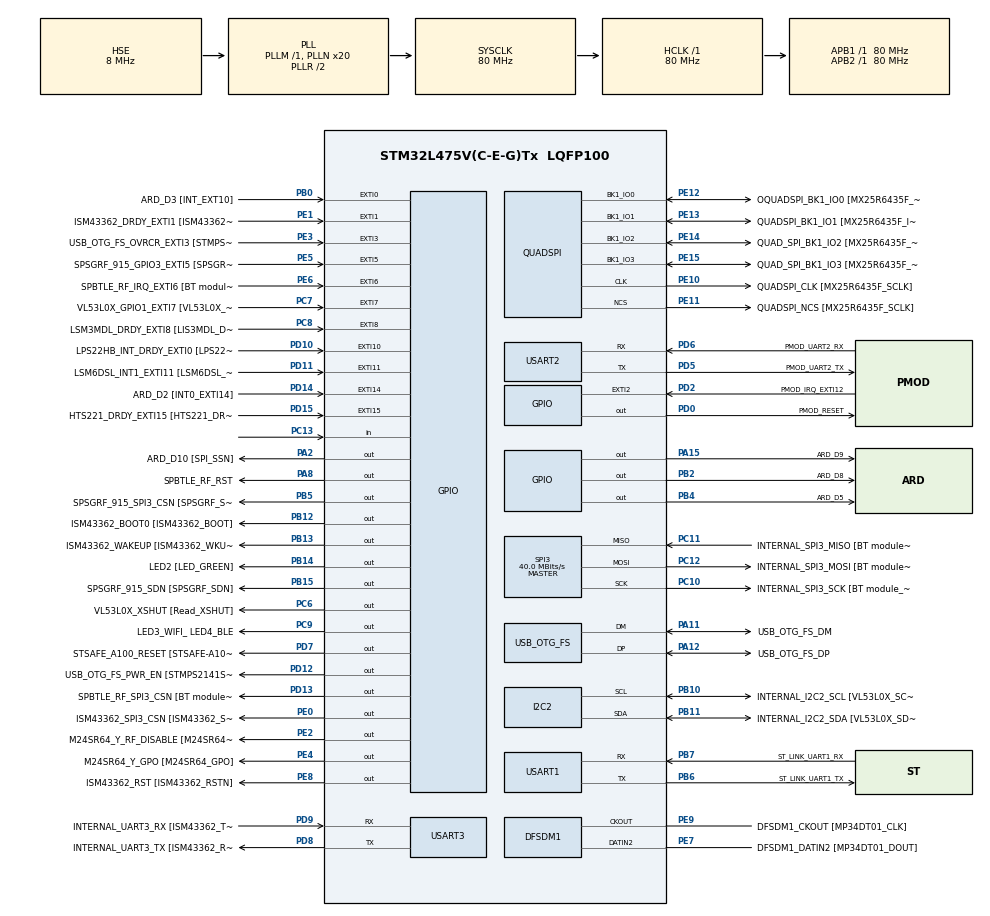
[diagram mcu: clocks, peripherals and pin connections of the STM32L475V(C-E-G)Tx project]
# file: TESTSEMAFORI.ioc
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FREERTOS.BinarySemaphores01=Semaphore,Dynamic,NULL
FREERTOS.Tasks01=HighTask,2,128,StartHighTask,Default,NULL,Dynamic,NULL,NULL;LowTask,-1,128,StartLowTask,Default,NULL,Dynamic,NULL,NULL;NormalTask,0,128,StartNormalTask,Default,NULL,Dynamic,NULL,NULL
Mcu.Family=STM32L4
Mcu.Name=STM32L475V(C-E-G)Tx
Mcu.Package=LQFP100
NVIC.PriorityGroup=NVIC_PRIORITYGROUP_4
NVIC.TIM1_UP_TIM16_IRQn=true\:0\:0\:false\:false\:true\:false\:false\:true
NVIC.TimeBase=TIM1_UP_TIM16_IRQn
NVIC.TimeBaseIP=TIM1
PA0.GPIO_Label=ARD_D1 [UART4_TX]
PA0.Signal=UART4_TX
PA1.GPIO_Label=ARD_D0 [UART4_RX]
PA1.Signal=UART4_RX
PA10.GPIO_Label=USB_OTG_FS_ID
PA10.Signal=USB_OTG_FS_ID
PA11.GPIO_Label=USB_OTG_FS_DM
PA11.Mode=Device_Only
PA11.Signal=USB_OTG_FS_DM
PA12.GPIO_Label=USB_OTG_FS_DP
PA12.Mode=Device_Only
PA12.Signal=USB_OTG_FS_DP
PA13\ (JTMS-SWDIO).GPIO_Label=SYS_JTMS_SWDIO
PA13\ (JTMS-SWDIO).Mode=Serial_Wire
PA13\ (JTMS-SWDIO).Signal=SYS_JTMS-SWDIO
PA14\ (JTCK-SWCLK).GPIO_Label=SYS_JTCK_SWCLK
PA14\ (JTCK-SWCLK).Mode=Serial_Wire
PA14\ (JTCK-SWCLK).Signal=SYS_JTCK-SWCLK
PA15\ (JTDI).GPIO_Label=ARD_D9
PA15\ (JTDI).Signal=GPIO_Output
PA2.GPIO_Label=ARD_D10 [SPI_SSN]
PA2.Signal=GPIO_Output
PA3.GPIO_Label=ARD_D4
PA3.Signal=S_TIM2_CH4
PA4.GPIO_Label=ARD_D7
PA4.Signal=ADCx_IN9
PA5.GPIO_Label=ARD_D13 [SPI1_SCK]
PA5.Signal=SPI1_SCK
PA6.GPIO_Label=ARD_D12 [SPI1_MISO]
PA6.Signal=SPI1_MISO
PA7.GPIO_Label=ARD_D11 [SPI1_MOSI]
PA7.Signal=SPI1_MOSI
PA8.GPIO_Label=SPBTLE_RF_RST
PA8.Signal=GPIO_Output
PA9.GPIO_Label=USB_OTG_FS_VBUS [STMPS2141STR_OUT]
PA9.Signal=USB_OTG_FS_VBUS
PB0.GPIO_Label=ARD_D3 [INT_EXT10]
PB0.Signal=GPXTI0
PB1.GPIO_Label=ARD_D6 [ADC1_IN6]
PB1.Signal=ADCx_IN16
PB10.GPIO_Label=INTERNAL_I2C2_SCL [VL53L0X_SCL]
PB10.Mode=I2C
PB10.Signal=I2C2_SCL
PB11.GPIO_Label=INTERNAL_I2C2_SDA [VL53L0X_SDA]
PB11.Mode=I2C
PB11.Signal=I2C2_SDA
PB12.GPIO_Label=ISM43362_BOOT0 [ISM43362_BOOT]
PB12.Signal=GPIO_Output
PB13.GPIO_Label=ISM43362_WAKEUP [ISM43362_WKUP]
PB13.Signal=GPIO_Output
PB14.GPIO_Label=LED2 [LED_GREEN]
PB14.Signal=GPIO_Output
PB15.GPIO_Label=SPSGRF_915_SDN [SPSGRF_SDN]
PB15.Signal=GPIO_Output
PB2.GPIO_Label=ARD_D8
PB2.Signal=GPIO_Output
PB3\ (JTDO-TRACESWO).GPIO_Label=SYS_JTD0_SWO
PB3\ (JTDO-TRACESWO).Signal=SYS_JTDO-SWO
PB4\ (NJTRST).GPIO_Label=ARD_D5
PB4\ (NJTRST).Signal=GPIO_Output
PB5.GPIO_Label=SPSGRF_915_SPI3_CSN [SPSGRF_SPI_CS]
PB5.PinState=GPIO_PIN_SET
PB5.Signal=GPIO_Output
PB6.GPIO_Label=ST_LINK_UART1_TX
PB6.Mode=Asynchronous
PB6.Signal=USART1_TX
PB7.GPIO_Label=ST_LINK_UART1_RX
PB7.Mode=Asynchronous
PB7.Signal=USART1_RX
PB8.GPIO_Label=ARD_D15 [I2C1_SCL]
PB8.Signal=I2C1_SCL
PB9.GPIO_Label=ARD_D14 [I2C1_SDA]
PB9.Signal=I2C1_SDA
PC0.GPIO_Label=ARD_A5 [ADC]
PC0.Signal=ADCx_IN1
PC1.GPIO_Label=ARD_A4 [ADC]
PC1.Signal=ADCx_IN2
PC10.GPIO_Label=INTERNAL_SPI3_SCK [BT module_SPI_SCLK] [ISM43362_SCK]
PC10.Mode=Full_Duplex_Master
PC10.Signal=SPI3_SCK
PC11.GPIO_Label=INTERNAL_SPI3_MISO [BT module_SPI_MISO] [ISM43362_MISO]
PC11.Mode=Full_Duplex_Master
PC11.Signal=SPI3_MISO
PC12.GPIO_Label=INTERNAL_SPI3_MOSI [BT module_SPI_MOSI] [ISM43362_MOSI]
PC12.Mode=Full_Duplex_Master
PC12.Signal=SPI3_MOSI
PC13.Signal=GPIO_Input
PC14-OSC32_IN\ (PC14).Mode=LSE-External-Oscillator
PC14-OSC32_IN\ (PC14).Signal=RCC_OSC32_IN
PC15-OSC32_OUT\ (PC15).Mode=LSE-External-Oscillator
PC15-OSC32_OUT\ (PC15).Signal=RCC_OSC32_OUT
PC2.GPIO_Label=ARD_A3 [ADC]
PC2.Signal=ADCx_IN3
PC3.GPIO_Label=ARD_A2 [ADC]
PC3.Signal=ADCx_IN4
PC4.GPIO_Label=ARD_A1 [ADC]
PC4.Signal=ADCx_IN13
PC5.GPIO_Label=ARD_A0 [ADC]
PC5.Signal=ADCx_IN14
PC6.GPIO_Label=VL53L0X_XSHUT [Read_XSHUT]
PC6.Signal=GPIO_Output
PC7.GPIO_Label=VL53L0X_GPIO1_EXTI7 [VL53L0X_GPIO1]
PC7.Signal=GPXTI7
PC8.GPIO_Label=LSM3MDL_DRDY_EXTI8 [LIS3MDL_DRDY]
PC8.Signal=GPXTI8
PC9.GPIO_Label=LED3_WIFI_ LED4_BLE
PC9.Signal=GPIO_Output
PD0.GPIO_Label=PMOD_RESET
PD0.Signal=GPIO_Output
PD1.GPIO_Label=PMOD_SPI2_SCK
PD1.Signal=SPI2_SCK
PD10.GPIO_Label=LPS22HB_INT_DRDY_EXTI0 [LPS22HB_INT_DRDY] 
PD10.Signal=GPXTI10
PD11.GPIO_Label=LSM6DSL_INT1_EXTI11 [LSM6DSL_INT1]
PD11.Signal=GPXTI11
PD12.GPIO_Label=USB_OTG_FS_PWR_EN [STMPS2141STR_EN]
PD12.Signal=GPIO_Output
PD13.GPIO_Label=SPBTLE_RF_SPI3_CSN [BT module_SPI_CS]
PD13.PinState=GPIO_PIN_SET
PD13.Signal=GPIO_Output
PD14.GPIO_Label=ARD_D2 [INT0_EXTI14]
PD14.Signal=GPXTI14
PD15.GPIO_Label=HTS221_DRDY_EXTI15 [HTS221_DRDY]
PD15.Signal=GPXTI15
PD2.GPIO_Label=PMOD_IRQ_EXTI12
PD2.Signal=GPXTI2
PD3.GPIO_Label=PMOD_UART2_CTS
PD3.Signal=USART2_CTS
PD4.GPIO_Label=PMOD_UART2_RTS
PD4.Signal=USART2_RTS
PD5.GPIO_Label=PMOD_UART2_TX
PD5.Mode=Asynchronous
PD5.Signal=USART2_TX
PD6.GPIO_Label=PMOD_UART2_RX
PD6.Mode=Asynchronous
PD6.Signal=USART2_RX
PD7.GPIO_Label=STSAFE_A100_RESET [STSAFE-A100_RESET]
PD7.Signal=GPIO_Output
PD8.GPIO_Label=INTERNAL_UART3_TX [ISM43362_RX]
PD8.Mode=Asynchronous
PD8.Signal=USART3_TX
PD9.GPIO_Label=INTERNAL_UART3_RX [ISM43362_TX]
PD9.Mode=Asynchronous
PD9.Signal=USART3_RX
PE0.GPIO_Label=ISM43362_SPI3_CSN [ISM43362_SSN]
PE0.PinState=GPIO_PIN_SET
PE0.Signal=GPIO_Output
PE1.GPIO_Label=ISM43362_DRDY_EXTI1 [ISM43362_DATARDY]
PE1.Signal=GPXTI1
PE10.GPIO_Label=QUADSPI_CLK [MX25R6435F_SCLK]
PE10.Mode=Single Bank
PE10.Signal=QUADSPI_CLK
PE11.GPIO_Label=QUADSPI_NCS [MX25R6435F_SCLK]
PE11.Mode=Single Bank
PE11.Signal=QUADSPI_NCS
PE12.GPIO_Label=OQUADSPI_BK1_IO0 [MX25R6435F_IO0]
PE12.Mode=Single Bank
PE12.Signal=QUADSPI_BK1_IO0
PE13.GPIO_Label=QUADSPI_BK1_IO1 [MX25R6435F_IO1]
PE13.Mode=Single Bank
PE13.Signal=QUADSPI_BK1_IO1
PE14.GPIO_Label=QUAD_SPI_BK1_IO2 [MX25R6435F_IO2]
PE14.Mode=Single Bank
PE14.Signal=QUADSPI_BK1_IO2
PE15.GPIO_Label=QUAD_SPI_BK1_IO3 [MX25R6435F_IO3]
PE15.Mode=Single Bank
PE15.Signal=QUADSPI_BK1_IO3
PE2.GPIO_Label=M24SR64_Y_RF_DISABLE [M24SR64_RFDIS]
PE2.Signal=GPIO_Output
PE3.GPIO_Label=USB_OTG_FS_OVRCR_EXTI3 [STMPS2141STR_FAULT]
PE3.Signal=GPXTI3
PE4.GPIO_Label=M24SR64_Y_GPO [M24SR64_GPO]
PE4.Signal=GPIO_Output
PE5.GPIO_Label=SPSGRF_915_GPIO3_EXTI5 [SPSGRF_GPIO_3]
PE5.Signal=GPXTI5
PE6.GPIO_Label=SPBTLE_RF_IRQ_EXTI6 [BT module_SPI_IRQ]
PE6.Signal=GPXTI6
PE7.GPIO_Label=DFSDM1_DATIN2 [MP34DT01_DOUT]
PE7.Signal=S_DATAIN2DFSDM1
PE8.GPIO_Label=ISM43362_RST [ISM43362_RSTN]
PE8.Signal=GPIO_Output
PE9.GPIO_Label=DFSDM1_CKOUT [MP34DT01_CLK]
PE9.Signal=S_CKOUTDFSDM1
PH0-OSC_IN\ (PH0).Mode=HSE-External-Oscillator
PH0-OSC_IN\ (PH0).Signal=RCC_OSC_IN
PH1-OSC_OUT\ (PH1).Mode=HSE-External-Oscillator
PH1-OSC_OUT\ (PH1).Signal=RCC_OSC_OUT
ProjectManager.HeapSize=0x200
ProjectManager.StackSize=0x400
ProjectManager.TargetToolchain=STM32CubeIDE
RCC.ADCFreq_Value=48000000
RCC.AHBFreq_Value=80000000
RCC.APB1Freq_Value=80000000
RCC.APB1TimFreq_Value=80000000
RCC.APB2Freq_Value=80000000
RCC.APB2TimFreq_Value=80000000
RCC.CortexFreq_Value=80000000
RCC.HCLKFreq_Value=80000000
RCC.HSE_VALUE=8000000
RCC.HSI_VALUE=16000000
RCC.MSI_VALUE=4000000
RCC.PLLN=20
RCC.PLLSAI1N=12
RCC.PLLSourceVirtual=RCC_PLLSOURCE_HSE
RCC.SYSCLKFreq_VALUE=80000000
RCC.SYSCLKSource=RCC_SYSCLKSOURCE_PLLCLK
RCC.USBFreq_Value=48000000
RCC.VCOOutputFreq_Value=160000000
SH.ADCx_IN1.0=ADC1_IN1
SH.ADCx_IN13.0=ADC1_IN13
SH.ADCx_IN14.0=ADC1_IN14
SH.ADCx_IN16.0=ADC1_IN16
SH.ADCx_IN2.0=ADC1_IN2
SH.ADCx_IN3.0=ADC1_IN3
SH.ADCx_IN4.0=ADC1_IN4
SH.ADCx_IN9.0=ADC1_IN9
SH.S_CKOUTDFSDM1.0=DFSDM1_CKOUT,CKOUT
SH.S_CKOUTDFSDM1.1=DFSDM1_CKOUT,PDM_SPI_Input_from_ch12_and_Internal_Clock
SH.S_DATAIN2DFSDM1.0=DFSDM1_DATIN2,PDM_SPI_Input_from_ch12_and_Internal_Clock
SH.S_TIM2_CH4.0=TIM2_CH4
SPI3.BaudRatePrescaler=SPI_BAUDRATEPRESCALER_2
SPI3.CalculateBaudRate=40.0 MBits/s
SPI3.Direction=SPI_DIRECTION_2LINES
SPI3.Mode=SPI_MODE_MASTER
SPI3.VirtualType=VM_MASTER
USART1.VirtualMode-Asynchronous=VM_ASYNC
USART2.VirtualMode-Asynchronous=VM_ASYNC
USART3.VirtualMode-Asynchronous=VM_ASYNC
USB_OTG_FS.VirtualMode=Device_Only
VP_FREERTOS_VS_CMSIS_V1.Mode=CMSIS_V1
VP_SYS_VS_tim1.Mode=TIM1
board=B-L475E-IOT01A1

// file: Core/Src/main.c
/* USER CODE BEGIN Header */
/**
  ******************************************************************************
  * @file           : main.c
  * @brief          : Main program body
  ******************************************************************************
  * @attention
  *
  * <h2><center>&copy; Copyright (c) 2020 STMicroelectronics.
  * All rights reserved.</center></h2>
  *
  * This software component is licensed by ST under BSD 3-Clause license,
  * the "License"; You may not use this file except in compliance with the
  * License. You may obtain a copy of the License at:
  *                        opensource.org/licenses/BSD-3-Clause
  *
  ******************************************************************************
  */
/* USER CODE END Header */

#include "main.h"
#include "cmsis_os.h"

DFSDM_Channel_HandleTypeDef hdfsdm1_channel1;

I2C_HandleTypeDef hi2c2;

QSPI_HandleTypeDef hqspi;

SPI_HandleTypeDef hspi3;

UART_HandleTypeDef huart1;
UART_HandleTypeDef huart2;
UART_HandleTypeDef huart3;

PCD_HandleTypeDef hpcd_USB_OTG_FS;

osThreadId HighTaskHandle;
osThreadId LowTaskHandle;
osThreadId NormalTaskHandle;
osSemaphoreId SemaphoreHandle;

void SystemClock_Config(void);
static void MX_GPIO_Init(void);
static void MX_DFSDM1_Init(void);
static void MX_I2C2_Init(void);
static void MX_QUADSPI_Init(void);
static void MX_SPI3_Init(void);
static void MX_USART1_UART_Init(void);
static void MX_USART3_UART_Init(void);
static void MX_USB_OTG_FS_PCD_Init(void);
static void MX_USART2_UART_Init(void);
void StartHighTask(void const * argument);
void StartLowTask(void const * argument);
void StartNormalTask(void const * argument);

int main(void)
{

  /* MCU Configuration--------------------------------------------------------*/

  /* Reset of all peripherals, Initializes the Flash interface and the Systick. */
  HAL_Init();

  /* Configure the system clock */
  SystemClock_Config();

  /* Initialize all configured peripherals */
  MX_GPIO_Init();
  MX_DFSDM1_Init();
  MX_I2C2_Init();
  MX_QUADSPI_Init();
  MX_SPI3_Init();
  MX_USART1_UART_Init();
  MX_USART3_UART_Init();
  MX_USB_OTG_FS_PCD_Init();
  MX_USART2_UART_Init();

  /* Create the semaphores(s) */
  /* definition and creation of Semaphore */
  osSemaphoreDef(Semaphore);
  SemaphoreHandle = osSemaphoreCreate(osSemaphore(Semaphore), 1);

  /* Create the thread(s) */
  /* definition and creation of HighTask */
  osThreadDef(HighTask, StartHighTask, osPriorityHigh, 0, 128);
  HighTaskHandle = osThreadCreate(osThread(HighTask), NULL);

  /* definition and creation of LowTask */
  osThreadDef(LowTask, StartLowTask, osPriorityBelowNormal, 0, 128);
  LowTaskHandle = osThreadCreate(osThread(LowTask), NULL);

  /* definition and creation of NormalTask */
  osThreadDef(NormalTask, StartNormalTask, osPriorityNormal, 0, 128);
  NormalTaskHandle = osThreadCreate(osThread(NormalTask), NULL);

  /* Start scheduler */
  osKernelStart();

  /* We should never get here as control is now taken by the scheduler */

  /* Infinite loop */
  while (1)
  {

  }
}

void SystemClock_Config(void)
{
  RCC_OscInitTypeDef RCC_OscInitStruct = {0};
  RCC_ClkInitTypeDef RCC_ClkInitStruct = {0};
  RCC_PeriphCLKInitTypeDef PeriphClkInit = {0};

  /** Initializes the CPU, AHB and APB busses clocks
  */
  RCC_OscInitStruct.OscillatorType = RCC_OSCILLATORTYPE_HSE;
  RCC_OscInitStruct.HSEState = RCC_HSE_ON;
  RCC_OscInitStruct.PLL.PLLState = RCC_PLL_ON;
  RCC_OscInitStruct.PLL.PLLSource = RCC_PLLSOURCE_HSE;
  RCC_OscInitStruct.PLL.PLLM = 1;
  RCC_OscInitStruct.PLL.PLLN = 20;
  RCC_OscInitStruct.PLL.PLLP = RCC_PLLP_DIV7;
  RCC_OscInitStruct.PLL.PLLQ = RCC_PLLQ_DIV2;
  RCC_OscInitStruct.PLL.PLLR = RCC_PLLR_DIV2;
  if (HAL_RCC_OscConfig(&RCC_OscInitStruct) != HAL_OK)
  {
    Error_Handler();
  }
  /** Initializes the CPU, AHB and APB busses clocks
  */
  RCC_ClkInitStruct.ClockType = RCC_CLOCKTYPE_HCLK|RCC_CLOCKTYPE_SYSCLK
                              |RCC_CLOCKTYPE_PCLK1|RCC_CLOCKTYPE_PCLK2;
  RCC_ClkInitStruct.SYSCLKSource = RCC_SYSCLKSOURCE_PLLCLK;
  RCC_ClkInitStruct.AHBCLKDivider = RCC_SYSCLK_DIV1;
  RCC_ClkInitStruct.APB1CLKDivider = RCC_HCLK_DIV1;
  RCC_ClkInitStruct.APB2CLKDivider = RCC_HCLK_DIV1;

  if (HAL_RCC_ClockConfig(&RCC_ClkInitStruct, FLASH_LATENCY_4) != HAL_OK)
  {
    Error_Handler();
  }
  PeriphClkInit.PeriphClockSelection = RCC_PERIPHCLK_USART1|RCC_PERIPHCLK_USART2
                              |RCC_PERIPHCLK_USART3|RCC_PERIPHCLK_I2C2
                              |RCC_PERIPHCLK_DFSDM1|RCC_PERIPHCLK_USB;
  PeriphClkInit.Usart1ClockSelection = RCC_USART1CLKSOURCE_PCLK2;
  PeriphClkInit.Usart2ClockSelection = RCC_USART2CLKSOURCE_PCLK1;
  PeriphClkInit.Usart3ClockSelection = RCC_USART3CLKSOURCE_PCLK1;
  PeriphClkInit.I2c2ClockSelection = RCC_I2C2CLKSOURCE_PCLK1;
  PeriphClkInit.Dfsdm1ClockSelection = RCC_DFSDM1CLKSOURCE_PCLK;
  PeriphClkInit.UsbClockSelection = RCC_USBCLKSOURCE_PLLSAI1;
  PeriphClkInit.PLLSAI1.PLLSAI1Source = RCC_PLLSOURCE_HSE;
  PeriphClkInit.PLLSAI1.PLLSAI1M = 1;
  PeriphClkInit.PLLSAI1.PLLSAI1N = 12;
  PeriphClkInit.PLLSAI1.PLLSAI1P = RCC_PLLP_DIV7;
  PeriphClkInit.PLLSAI1.PLLSAI1Q = RCC_PLLQ_DIV2;
  PeriphClkInit.PLLSAI1.PLLSAI1R = RCC_PLLR_DIV2;
  PeriphClkInit.PLLSAI1.PLLSAI1ClockOut = RCC_PLLSAI1_48M2CLK;
  if (HAL_RCCEx_PeriphCLKConfig(&PeriphClkInit) != HAL_OK)
  {
    Error_Handler();
  }
  /** Configure the main internal regulator output voltage
  */
  if (HAL_PWREx_ControlVoltageScaling(PWR_REGULATOR_VOLTAGE_SCALE1) != HAL_OK)
  {
    Error_Handler();
  }
}

static void MX_DFSDM1_Init(void)
{

  hdfsdm1_channel1.Instance = DFSDM1_Channel1;
  hdfsdm1_channel1.Init.OutputClock.Activation = ENABLE;
  hdfsdm1_channel1.Init.OutputClock.Selection = DFSDM_CHANNEL_OUTPUT_CLOCK_SYSTEM;
  hdfsdm1_channel1.Init.OutputClock.Divider = 2;
  hdfsdm1_channel1.Init.Input.Multiplexer = DFSDM_CHANNEL_EXTERNAL_INPUTS;
  hdfsdm1_channel1.Init.Input.DataPacking = DFSDM_CHANNEL_STANDARD_MODE;
  hdfsdm1_channel1.Init.Input.Pins = DFSDM_CHANNEL_FOLLOWING_CHANNEL_PINS;
  hdfsdm1_channel1.Init.SerialInterface.Type = DFSDM_CHANNEL_SPI_RISING;
  hdfsdm1_channel1.Init.SerialInterface.SpiClock = DFSDM_CHANNEL_SPI_CLOCK_INTERNAL;
  hdfsdm1_channel1.Init.Awd.FilterOrder = DFSDM_CHANNEL_FASTSINC_ORDER;
  hdfsdm1_channel1.Init.Awd.Oversampling = 1;
  hdfsdm1_channel1.Init.Offset = 0;
  hdfsdm1_channel1.Init.RightBitShift = 0x00;
  if (HAL_DFSDM_ChannelInit(&hdfsdm1_channel1) != HAL_OK)
  {
    Error_Handler();
  }

}

static void MX_I2C2_Init(void)
{

  hi2c2.Instance = I2C2;
  hi2c2.Init.Timing = 0x10909CEC;
  hi2c2.Init.OwnAddress1 = 0;
  hi2c2.Init.AddressingMode = I2C_ADDRESSINGMODE_7BIT;
  hi2c2.Init.DualAddressMode = I2C_DUALADDRESS_DISABLE;
  hi2c2.Init.OwnAddress2 = 0;
  hi2c2.Init.OwnAddress2Masks = I2C_OA2_NOMASK;
  hi2c2.Init.GeneralCallMode = I2C_GENERALCALL_DISABLE;
  hi2c2.Init.NoStretchMode = I2C_NOSTRETCH_DISABLE;
  if (HAL_I2C_Init(&hi2c2) != HAL_OK)
  {
    Error_Handler();
  }
  /** Configure Analogue filter
  */
  if (HAL_I2CEx_ConfigAnalogFilter(&hi2c2, I2C_ANALOGFILTER_ENABLE) != HAL_OK)
  {
    Error_Handler();
  }
  /** Configure Digital filter
  */
  if (HAL_I2CEx_ConfigDigitalFilter(&hi2c2, 0) != HAL_OK)
  {
    Error_Handler();
  }

}

static void MX_QUADSPI_Init(void)
{

  /* QUADSPI parameter configuration*/
  hqspi.Instance = QUADSPI;
  hqspi.Init.ClockPrescaler = 255;
  hqspi.Init.FifoThreshold = 1;
  hqspi.Init.SampleShifting = QSPI_SAMPLE_SHIFTING_NONE;
  hqspi.Init.FlashSize = 1;
  hqspi.Init.ChipSelectHighTime = QSPI_CS_HIGH_TIME_1_CYCLE;
  hqspi.Init.ClockMode = QSPI_CLOCK_MODE_0;
  if (HAL_QSPI_Init(&hqspi) != HAL_OK)
  {
    Error_Handler();
  }

}

static void MX_SPI3_Init(void)
{

  /* SPI3 parameter configuration*/
  hspi3.Instance = SPI3;
  hspi3.Init.Mode = SPI_MODE_MASTER;
  hspi3.Init.Direction = SPI_DIRECTION_2LINES;
  hspi3.Init.DataSize = SPI_DATASIZE_4BIT;
  hspi3.Init.CLKPolarity = SPI_POLARITY_LOW;
  hspi3.Init.CLKPhase = SPI_PHASE_1EDGE;
  hspi3.Init.NSS = SPI_NSS_SOFT;
  hspi3.Init.BaudRatePrescaler = SPI_BAUDRATEPRESCALER_2;
  hspi3.Init.FirstBit = SPI_FIRSTBIT_MSB;
  hspi3.Init.TIMode = SPI_TIMODE_DISABLE;
  hspi3.Init.CRCCalculation = SPI_CRCCALCULATION_DISABLE;
  hspi3.Init.CRCPolynomial = 7;
  hspi3.Init.CRCLength = SPI_CRC_LENGTH_DATASIZE;
  hspi3.Init.NSSPMode = SPI_NSS_PULSE_ENABLE;
  if (HAL_SPI_Init(&hspi3) != HAL_OK)
  {
    Error_Handler();
  }

}

static void MX_USART1_UART_Init(void)
{

  huart1.Instance = USART1;
  huart1.Init.BaudRate = 115200;
  huart1.Init.WordLength = UART_WORDLENGTH_8B;
  huart1.Init.StopBits = UART_STOPBITS_1;
  huart1.Init.Parity = UART_PARITY_NONE;
  huart1.Init.Mode = UART_MODE_TX_RX;
  huart1.Init.HwFlowCtl = UART_HWCONTROL_NONE;
  huart1.Init.OverSampling = UART_OVERSAMPLING_16;
  huart1.Init.OneBitSampling = UART_ONE_BIT_SAMPLE_DISABLE;
  huart1.AdvancedInit.AdvFeatureInit = UART_ADVFEATURE_NO_INIT;
  if (HAL_UART_Init(&huart1) != HAL_OK)
  {
    Error_Handler();
  }

}

static void MX_USART2_UART_Init(void)
{

  huart2.Instance = USART2;
  huart2.Init.BaudRate = 115200;
  huart2.Init.WordLength = UART_WORDLENGTH_8B;
  huart2.Init.StopBits = UART_STOPBITS_1;
  huart2.Init.Parity = UART_PARITY_NONE;
  huart2.Init.Mode = UART_MODE_TX_RX;
  huart2.Init.HwFlowCtl = UART_HWCONTROL_NONE;
  huart2.Init.OverSampling = UART_OVERSAMPLING_16;
  huart2.Init.OneBitSampling = UART_ONE_BIT_SAMPLE_DISABLE;
  huart2.AdvancedInit.AdvFeatureInit = UART_ADVFEATURE_NO_INIT;
  if (HAL_UART_Init(&huart2) != HAL_OK)
  {
    Error_Handler();
  }

}

static void MX_USART3_UART_Init(void)
{

  huart3.Instance = USART3;
  huart3.Init.BaudRate = 115200;
  huart3.Init.WordLength = UART_WORDLENGTH_8B;
  huart3.Init.StopBits = UART_STOPBITS_1;
  huart3.Init.Parity = UART_PARITY_NONE;
  huart3.Init.Mode = UART_MODE_TX_RX;
  huart3.Init.HwFlowCtl = UART_HWCONTROL_NONE;
  huart3.Init.OverSampling = UART_OVERSAMPLING_16;
  huart3.Init.OneBitSampling = UART_ONE_BIT_SAMPLE_DISABLE;
  huart3.AdvancedInit.AdvFeatureInit = UART_ADVFEATURE_NO_INIT;
  if (HAL_UART_Init(&huart3) != HAL_OK)
  {
    Error_Handler();
  }

}

static void MX_USB_OTG_FS_PCD_Init(void)
{

  hpcd_USB_OTG_FS.Instance = USB_OTG_FS;
  hpcd_USB_OTG_FS.Init.dev_endpoints = 6;
  hpcd_USB_OTG_FS.Init.speed = PCD_SPEED_FULL;
  hpcd_USB_OTG_FS.Init.phy_itface = PCD_PHY_EMBEDDED;
  hpcd_USB_OTG_FS.Init.Sof_enable = DISABLE;
  hpcd_USB_OTG_FS.Init.low_power_enable = DISABLE;
  hpcd_USB_OTG_FS.Init.lpm_enable = DISABLE;
  hpcd_USB_OTG_FS.Init.battery_charging_enable = DISABLE;
  hpcd_USB_OTG_FS.Init.use_dedicated_ep1 = DISABLE;
  hpcd_USB_OTG_FS.Init.vbus_sensing_enable = DISABLE;
  if (HAL_PCD_Init(&hpcd_USB_OTG_FS) != HAL_OK)
  {
    Error_Handler();
  }

}

static void MX_GPIO_Init(void)
{
  GPIO_InitTypeDef GPIO_InitStruct = {0};

  /* GPIO Ports Clock Enable */
  __HAL_RCC_GPIOE_CLK_ENABLE();
  __HAL_RCC_GPIOC_CLK_ENABLE();
  __HAL_RCC_GPIOH_CLK_ENABLE();
  __HAL_RCC_GPIOA_CLK_ENABLE();
  __HAL_RCC_GPIOB_CLK_ENABLE();
  __HAL_RCC_GPIOD_CLK_ENABLE();

  /*Configure GPIO pin Output Level */
  HAL_GPIO_WritePin(GPIOE, M24SR64_Y_RF_DISABLE_Pin|M24SR64_Y_GPO_Pin|ISM43362_RST_Pin, GPIO_PIN_RESET);

  /*Configure GPIO pin Output Level */
  HAL_GPIO_WritePin(GPIOA, ARD_D10_Pin|SPBTLE_RF_RST_Pin|ARD_D9_Pin, GPIO_PIN_RESET);

  /*Configure GPIO pin Output Level */
  HAL_GPIO_WritePin(GPIOB, ARD_D8_Pin|ISM43362_BOOT0_Pin|ISM43362_WAKEUP_Pin|LED2_Pin
                          |SPSGRF_915_SDN_Pin|ARD_D5_Pin, GPIO_PIN_RESET);

  /*Configure GPIO pin Output Level */
  HAL_GPIO_WritePin(GPIOD, USB_OTG_FS_PWR_EN_Pin|PMOD_RESET_Pin|STSAFE_A100_RESET_Pin, GPIO_PIN_RESET);

  /*Configure GPIO pin Output Level */
  HAL_GPIO_WritePin(SPBTLE_RF_SPI3_CSN_GPIO_Port, SPBTLE_RF_SPI3_CSN_Pin, GPIO_PIN_SET);

  /*Configure GPIO pin Output Level */
  HAL_GPIO_WritePin(GPIOC, VL53L0X_XSHUT_Pin|LED3_WIFI__LED4_BLE_Pin, GPIO_PIN_RESET);

  /*Configure GPIO pin Output Level */
  HAL_GPIO_WritePin(SPSGRF_915_SPI3_CSN_GPIO_Port, SPSGRF_915_SPI3_CSN_Pin, GPIO_PIN_SET);

  /*Configure GPIO pin Output Level */
  HAL_GPIO_WritePin(ISM43362_SPI3_CSN_GPIO_Port, ISM43362_SPI3_CSN_Pin, GPIO_PIN_SET);

  /*Configure GPIO pins : M24SR64_Y_RF_DISABLE_Pin M24SR64_Y_GPO_Pin ISM43362_RST_Pin ISM43362_SPI3_CSN_Pin */
  GPIO_InitStruct.Pin = M24SR64_Y_RF_DISABLE_Pin|M24SR64_Y_GPO_Pin|ISM43362_RST_Pin|ISM43362_SPI3_CSN_Pin;
  GPIO_InitStruct.Mode = GPIO_MODE_OUTPUT_PP;
  GPIO_InitStruct.Pull = GPIO_NOPULL;
  GPIO_InitStruct.Speed = GPIO_SPEED_FREQ_LOW;
  HAL_GPIO_Init(GPIOE, &GPIO_InitStruct);

  /*Configure GPIO pins : USB_OTG_FS_OVRCR_EXTI3_Pin SPSGRF_915_GPIO3_EXTI5_Pin SPBTLE_RF_IRQ_EXTI6_Pin ISM43362_DRDY_EXTI1_Pin */
  GPIO_InitStruct.Pin = USB_OTG_FS_OVRCR_EXTI3_Pin|SPSGRF_915_GPIO3_EXTI5_Pin|SPBTLE_RF_IRQ_EXTI6_Pin|ISM43362_DRDY_EXTI1_Pin;
  GPIO_InitStruct.Mode = GPIO_MODE_IT_RISING;
  GPIO_InitStruct.Pull = GPIO_NOPULL;
  HAL_GPIO_Init(GPIOE, &GPIO_InitStruct);

  /*Configure GPIO pin : PC13 */
  GPIO_InitStruct.Pin = GPIO_PIN_13;
  GPIO_InitStruct.Mode = GPIO_MODE_INPUT;
  GPIO_InitStruct.Pull = GPIO_NOPULL;
  HAL_GPIO_Init(GPIOC, &GPIO_InitStruct);

  /*Configure GPIO pins : ARD_A5_Pin ARD_A4_Pin ARD_A3_Pin ARD_A2_Pin
                           ARD_A1_Pin ARD_A0_Pin */
  GPIO_InitStruct.Pin = ARD_A5_Pin|ARD_A4_Pin|ARD_A3_Pin|ARD_A2_Pin
                          |ARD_A1_Pin|ARD_A0_Pin;
  GPIO_InitStruct.Mode = GPIO_MODE_ANALOG_ADC_CONTROL;
  GPIO_InitStruct.Pull = GPIO_NOPULL;
  HAL_GPIO_Init(GPIOC, &GPIO_InitStruct);

  /*Configure GPIO pins : ARD_D1_Pin ARD_D0_Pin */
  GPIO_InitStruct.Pin = ARD_D1_Pin|ARD_D0_Pin;
  GPIO_InitStruct.Mode = GPIO_MODE_AF_PP;
  GPIO_InitStruct.Pull = GPIO_NOPULL;
  GPIO_InitStruct.Speed = GPIO_SPEED_FREQ_VERY_HIGH;
  GPIO_InitStruct.Alternate = GPIO_AF8_UART4;
  HAL_GPIO_Init(GPIOA, &GPIO_InitStruct);

  /*Configure GPIO pins : ARD_D10_Pin SPBTLE_RF_RST_Pin ARD_D9_Pin */
  GPIO_InitStruct.Pin = ARD_D10_Pin|SPBTLE_RF_RST_Pin|ARD_D9_Pin;
  GPIO_InitStruct.Mode = GPIO_MODE_OUTPUT_PP;
  GPIO_InitStruct.Pull = GPIO_NOPULL;
  GPIO_InitStruct.Speed = GPIO_SPEED_FREQ_LOW;
  HAL_GPIO_Init(GPIOA, &GPIO_InitStruct);

  /*Configure GPIO pin : ARD_D4_Pin */
  GPIO_InitStruct.Pin = ARD_D4_Pin;
  GPIO_InitStruct.Mode = GPIO_MODE_AF_PP;
  GPIO_InitStruct.Pull = GPIO_NOPULL;
  GPIO_InitStruct.Speed = GPIO_SPEED_FREQ_LOW;
  GPIO_InitStruct.Alternate = GPIO_AF1_TIM2;
  HAL_GPIO_Init(ARD_D4_GPIO_Port, &GPIO_InitStruct);

  /*Configure GPIO pin : ARD_D7_Pin */
  GPIO_InitStruct.Pin = ARD_D7_Pin;
  GPIO_InitStruct.Mode = GPIO_MODE_ANALOG_ADC_CONTROL;
  GPIO_InitStruct.Pull = GPIO_NOPULL;
  HAL_GPIO_Init(ARD_D7_GPIO_Port, &GPIO_InitStruct);

  /*Configure GPIO pins : ARD_D13_Pin ARD_D12_Pin ARD_D11_Pin */
  GPIO_InitStruct.Pin = ARD_D13_Pin|ARD_D12_Pin|ARD_D11_Pin;
  GPIO_InitStruct.Mode = GPIO_MODE_AF_PP;
  GPIO_InitStruct.Pull = GPIO_NOPULL;
  GPIO_InitStruct.Speed = GPIO_SPEED_FREQ_VERY_HIGH;
  GPIO_InitStruct.Alternate = GPIO_AF5_SPI1;
  HAL_GPIO_Init(GPIOA, &GPIO_InitStruct);

  /*Configure GPIO pin : ARD_D3_Pin */
  GPIO_InitStruct.Pin = ARD_D3_Pin;
  GPIO_InitStruct.Mode = GPIO_MODE_IT_RISING;
  GPIO_InitStruct.Pull = GPIO_NOPULL;
  HAL_GPIO_Init(ARD_D3_GPIO_Port, &GPIO_InitStruct);

  /*Configure GPIO pin : ARD_D6_Pin */
  GPIO_InitStruct.Pin = ARD_D6_Pin;
  GPIO_InitStruct.Mode = GPIO_MODE_ANALOG_ADC_CONTROL;
  GPIO_InitStruct.Pull = GPIO_NOPULL;
  HAL_GPIO_Init(ARD_D6_GPIO_Port, &GPIO_InitStruct);

  /*Configure GPIO pins : ARD_D8_Pin ISM43362_BOOT0_Pin ISM43362_WAKEUP_Pin LED2_Pin
                           SPSGRF_915_SDN_Pin ARD_D5_Pin SPSGRF_915_SPI3_CSN_Pin */
  GPIO_InitStruct.Pin = ARD_D8_Pin|ISM43362_BOOT0_Pin|ISM43362_WAKEUP_Pin|LED2_Pin
                          |SPSGRF_915_SDN_Pin|ARD_D5_Pin|SPSGRF_915_SPI3_CSN_Pin;
  GPIO_InitStruct.Mode = GPIO_MODE_OUTPUT_PP;
  GPIO_InitStruct.Pull = GPIO_NOPULL;
  GPIO_InitStruct.Speed = GPIO_SPEED_FREQ_LOW;
  HAL_GPIO_Init(GPIOB, &GPIO_InitStruct);

  /*Configure GPIO pins : LPS22HB_INT_DRDY_EXTI0_Pin LSM6DSL_INT1_EXTI11_Pin ARD_D2_Pin HTS221_DRDY_EXTI15_Pin
                           PMOD_IRQ_EXTI12_Pin */
  GPIO_InitStruct.Pin = LPS22HB_INT_DRDY_EXTI0_Pin|LSM6DSL_INT1_EXTI11_Pin|ARD_D2_Pin|HTS221_DRDY_EXTI15_Pin
                          |PMOD_IRQ_EXTI12_Pin;
  GPIO_InitStruct.Mode = GPIO_MODE_IT_RISING;
  GPIO_InitStruct.Pull = GPIO_NOPULL;
  HAL_GPIO_Init(GPIOD, &GPIO_InitStruct);

  /*Configure GPIO pins : USB_OTG_FS_PWR_EN_Pin SPBTLE_RF_SPI3_CSN_Pin PMOD_RESET_Pin STSAFE_A100_RESET_Pin */
  GPIO_InitStruct.Pin = USB_OTG_FS_PWR_EN_Pin|SPBTLE_RF_SPI3_CSN_Pin|PMOD_RESET_Pin|STSAFE_A100_RESET_Pin;
  GPIO_InitStruct.Mode = GPIO_MODE_OUTPUT_PP;
  GPIO_InitStruct.Pull = GPIO_NOPULL;
  GPIO_InitStruct.Speed = GPIO_SPEED_FREQ_LOW;
  HAL_GPIO_Init(GPIOD, &GPIO_InitStruct);

  /*Configure GPIO pins : VL53L0X_XSHUT_Pin LED3_WIFI__LED4_BLE_Pin */
  GPIO_InitStruct.Pin = VL53L0X_XSHUT_Pin|LED3_WIFI__LED4_BLE_Pin;
  GPIO_InitStruct.Mode = GPIO_MODE_OUTPUT_PP;
  GPIO_InitStruct.Pull = GPIO_NOPULL;
  GPIO_InitStruct.Speed = GPIO_SPEED_FREQ_LOW;
  HAL_GPIO_Init(GPIOC, &GPIO_InitStruct);

  /*Configure GPIO pins : VL53L0X_GPIO1_EXTI7_Pin LSM3MDL_DRDY_EXTI8_Pin */
  GPIO_InitStruct.Pin = VL53L0X_GPIO1_EXTI7_Pin|LSM3MDL_DRDY_EXTI8_Pin;
  GPIO_InitStruct.Mode = GPIO_MODE_IT_RISING;
  GPIO_InitStruct.Pull = GPIO_NOPULL;
  HAL_GPIO_Init(GPIOC, &GPIO_InitStruct);

  /*Configure GPIO pin : PMOD_SPI2_SCK_Pin */
  GPIO_InitStruct.Pin = PMOD_SPI2_SCK_Pin;
  GPIO_InitStruct.Mode = GPIO_MODE_AF_PP;
  GPIO_InitStruct.Pull = GPIO_NOPULL;
  GPIO_InitStruct.Speed = GPIO_SPEED_FREQ_VERY_HIGH;
  GPIO_InitStruct.Alternate = GPIO_AF5_SPI2;
  HAL_GPIO_Init(PMOD_SPI2_SCK_GPIO_Port, &GPIO_InitStruct);

  /*Configure GPIO pins : ARD_D15_Pin ARD_D14_Pin */
  GPIO_InitStruct.Pin = ARD_D15_Pin|ARD_D14_Pin;
  GPIO_InitStruct.Mode = GPIO_MODE_AF_OD;
  GPIO_InitStruct.Pull = GPIO_PULLUP;
  GPIO_InitStruct.Speed = GPIO_SPEED_FREQ_VERY_HIGH;
  GPIO_InitStruct.Alternate = GPIO_AF4_I2C1;
  HAL_GPIO_Init(GPIOB, &GPIO_InitStruct);

}

void StartHighTask(void const * argument)
{
  /* USER CODE BEGIN 5 */
  /* Infinite loop */
  for(;;)
  {
	char *str1 = "Entered HighTask\n";
	HAL_UART_Transmit(&huart1, (uint8_t *) str1, strlen(str1), 100);

	osSemaphoreWait(SemaphoreHandle, osWaitForever); // Wait forever until semaphore available

	char *str3 = "Semaphore acquired by High\n";
	HAL_UART_Transmit(&huart1, (uint8_t *) str3, strlen(str3), 100);

	char *str2 = "Leaving HighTask and releasing the semaphore\n\n";
    HAL_UART_Transmit(&huart1, (uint8_t *) str2, strlen(str2), 100);

    osSemaphoreRelease(SemaphoreHandle);

    osDelay(500);
  }
  /* USER CODE END 5 */
}

void StartLowTask(void const * argument)
{
  /* USER CODE BEGIN StartLowTask */
  /* Infinite loop */
  for(;;)
  {
	char *str1 = "Entered LowTask\n";
	HAL_UART_Transmit(&huart1, (uint8_t *) str1, strlen(str1), 100);
	char *str2 = "Leaving LowTask\n\n";
    HAL_UART_Transmit(&huart1, (uint8_t *) str2, strlen(str2), 100);
    osDelay(500);
  }
  /* USER CODE END StartLowTask */
}

void StartNormalTask(void const * argument)
{
  /* USER CODE BEGIN StartNormalTask */
  /* Infinite loop */
  for(;;)
  {
	char *str1 = "Entered NormalTask and wait for semaphore\n";
	HAL_UART_Transmit(&huart1, (uint8_t *) str1, strlen(str1), 100);

	osSemaphoreWait(SemaphoreHandle, osWaitForever); // Wait forever until semaphore available

	char *str3 = "Semaphore acquired by Normal\n";
	HAL_UART_Transmit(&huart1, (uint8_t *) str3, strlen(str3), 100);

	while (HAL_GPIO_ReadPin(GPIOC, GPIO_PIN_13)); // Wait button press

	char *str2 = "Leaving NormalTask and releasing the Semaphore\n\n";
    HAL_UART_Transmit(&huart1, (uint8_t *) str2, strlen(str2), 100);

    osSemaphoreRelease(SemaphoreHandle);

    osDelay(500);
  }
  /* USER CODE END StartNormalTask */
}

void HAL_TIM_PeriodElapsedCallback(TIM_HandleTypeDef *htim)
{
  if (htim->Instance == TIM1) {
    HAL_IncTick();
  }
}

void Error_Handler(void)
{
}

/************************ (C) COPYRIGHT STMicroelectronics *****END OF FILE****/
